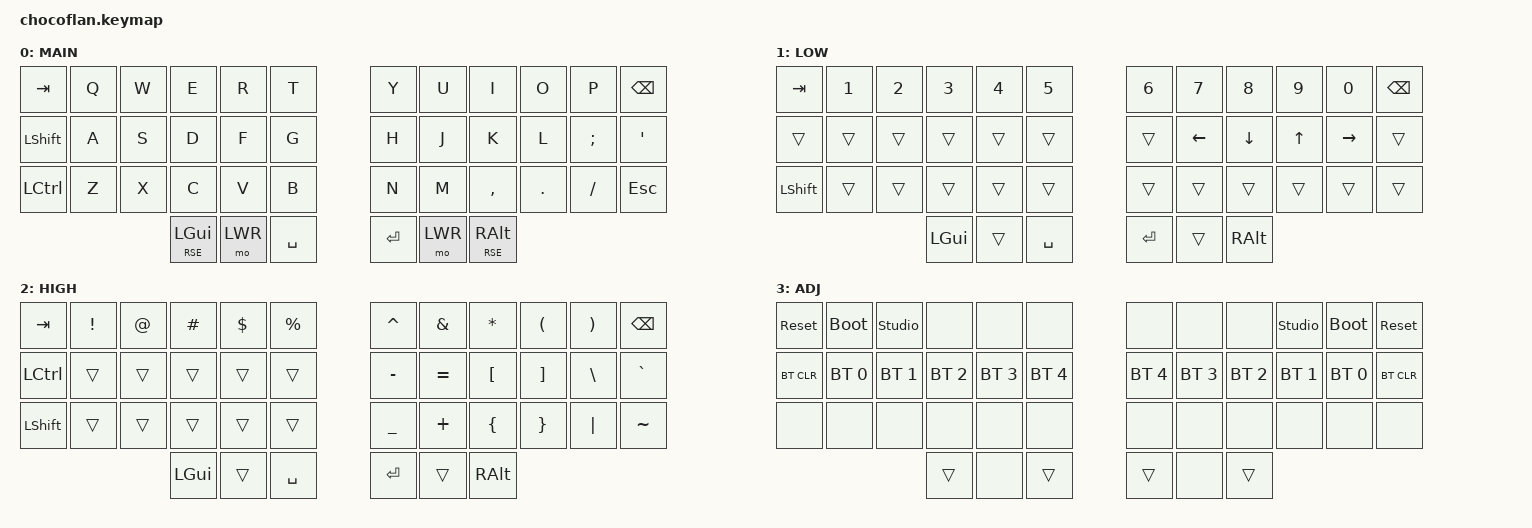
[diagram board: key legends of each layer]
/*
 * Copyright (c) 2020 The ZMK Contributors
 *
 * SPDX-License-Identifier: MIT
 */

#include <behaviors.dtsi>
#include <dt-bindings/zmk/bt.h>
#include <dt-bindings/zmk/keys.h>

#define DEF 0
#define LWR 1
#define RSE 2
#define ADJ 3

/ {
    conditional_layers {
        compatible = "zmk,conditional-layers";

        tri_layer {
            if-layers = <LWR RSE>;
            then-layer = <ADJ>;
        };
    };

    keymap {
        compatible = "zmk,keymap";

        default_layer {
            display-name = "MAIN";
            bindings = <
&kp TAB     &kp Q  &kp W  &kp E         &kp R    &kp T      &kp Y    &kp U    &kp I         &kp O    &kp P     &kp BSPC
&kp LSHIFT  &kp A  &kp S  &kp D         &kp F    &kp G      &kp H    &kp J    &kp K         &kp L    &kp SEMI  &kp SQT
&kp LCTRL   &kp Z  &kp X  &kp C         &kp V    &kp B      &kp N    &kp M    &kp COMMA     &kp DOT  &kp FSLH  &kp ESC
                          &lt RSE LGUI  &mo LWR  &kp SPACE  &kp RET  &mo LWR  &lt RSE RALT
            >;
        };

        lower_layer {
            display-name = "LOW";
            bindings = <
&kp TAB    &kp N1  &kp N2  &kp N3    &kp N4  &kp N5     &kp N6   &kp N7    &kp N8    &kp N9  &kp N0     &kp BSPC
&trans     &trans  &trans  &trans    &trans  &trans     &trans   &kp LEFT  &kp DOWN  &kp UP  &kp RIGHT  &trans
&kp LSHFT  &trans  &trans  &trans    &trans  &trans     &trans   &trans    &trans    &trans  &trans     &trans
                           &kp LGUI  &trans  &kp SPACE  &kp RET  &trans    &kp RALT
            >;
        };

        raise_layer {
            display-name = "HIGH";
            bindings = <
&kp TAB    &kp EXCL  &kp AT  &kp HASH  &kp DLLR  &kp PRCNT  &kp CARET  &kp AMPS   &kp ASTRK  &kp LPAR  &kp RPAR  &kp BSPC
&kp LCTRL  &trans    &trans  &trans    &trans    &trans     &kp MINUS  &kp EQUAL  &kp LBKT   &kp RBKT  &kp BSLH  &kp GRAVE
&kp LSHFT  &trans    &trans  &trans    &trans    &trans     &kp UNDER  &kp PLUS   &kp LBRC   &kp RBRC  &kp PIPE  &kp TILDE
                             &kp LGUI  &trans    &kp SPACE  &kp RET    &trans     &kp RALT
            >;
        };

        adjust_layer {
            display-name = "ADJ";
            bindings = <
&sys_reset  &bootloader   &studio_unlock  &none         &none         &none         &none         &none         &none         &studio_unlock  &bootloader   &sys_reset
&bt BT_CLR  &bt BT_SEL 0  &bt BT_SEL 1    &bt BT_SEL 2  &bt BT_SEL 3  &bt BT_SEL 4  &bt BT_SEL 4  &bt BT_SEL 3  &bt BT_SEL 2  &bt BT_SEL 1    &bt BT_SEL 0  &bt BT_CLR
&none       &none         &none           &none         &none         &none         &none         &none         &none         &none           &none         &none
                                          &trans        &none         &trans        &trans        &none         &trans
            >;
        };
    };
};
